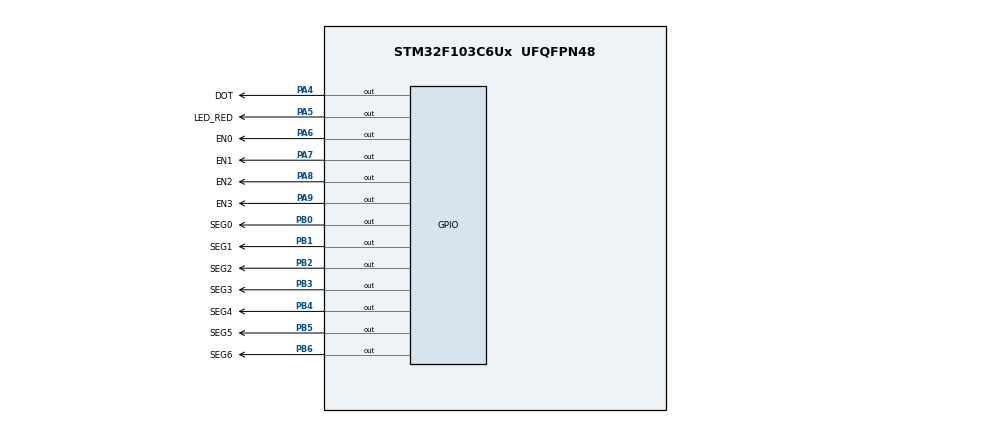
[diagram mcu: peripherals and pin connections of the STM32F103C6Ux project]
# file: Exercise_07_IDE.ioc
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Mcu.Family=STM32F1
Mcu.Name=STM32F103C6Ux
Mcu.Package=UFQFPN48
NVIC.PriorityGroup=NVIC_PRIORITYGROUP_4
NVIC.TIM2_IRQn=true\:0\:0\:false\:false\:true\:true\:true\:true
PA13.Mode=Serial_Wire
PA13.Signal=SYS_JTMS-SWDIO
PA14.Mode=Serial_Wire
PA14.Signal=SYS_JTCK-SWCLK
PA4.GPIO_Label=DOT
PA4.PinState=GPIO_PIN_SET
PA4.Signal=GPIO_Output
PA5.GPIO_Label=LED_RED
PA5.PinState=GPIO_PIN_SET
PA5.Signal=GPIO_Output
PA6.GPIO_Label=EN0
PA6.PinState=GPIO_PIN_SET
PA6.Signal=GPIO_Output
PA7.GPIO_Label=EN1
PA7.PinState=GPIO_PIN_SET
PA7.Signal=GPIO_Output
PA8.GPIO_Label=EN2
PA8.PinState=GPIO_PIN_SET
PA8.Signal=GPIO_Output
PA9.GPIO_Label=EN3
PA9.PinState=GPIO_PIN_SET
PA9.Signal=GPIO_Output
PB0.GPIO_Label=SEG0
PB0.PinState=GPIO_PIN_SET
PB0.Signal=GPIO_Output
PB1.GPIO_Label=SEG1
PB1.PinState=GPIO_PIN_SET
PB1.Signal=GPIO_Output
PB2.GPIO_Label=SEG2
PB2.PinState=GPIO_PIN_SET
PB2.Signal=GPIO_Output
PB3.GPIO_Label=SEG3
PB3.PinState=GPIO_PIN_SET
PB3.Signal=GPIO_Output
PB4.GPIO_Label=SEG4
PB4.PinState=GPIO_PIN_SET
PB4.Signal=GPIO_Output
PB5.GPIO_Label=SEG5
PB5.PinState=GPIO_PIN_SET
PB5.Signal=GPIO_Output
PB6.GPIO_Label=SEG6
PB6.PinState=GPIO_PIN_SET
PB6.Signal=GPIO_Output
ProjectManager.HeapSize=0x200
ProjectManager.StackSize=0x400
ProjectManager.TargetToolchain=STM32CubeIDE
RCC.APB1Freq_Value=8000000
RCC.APB2Freq_Value=8000000
TIM2.Period=9
TIM2.Prescaler=7999
VP_TIM2_VS_ClockSourceINT.Mode=Internal
board=custom

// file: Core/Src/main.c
/* USER CODE BEGIN Header */
/**
  ******************************************************************************
  * @file           : main.c
  * @brief          : Main program body
  ******************************************************************************
  * @attention
  *
  * Copyright (c) 2026 STMicroelectronics.
  * All rights reserved.
  *
  * This software is licensed under terms that can be found in the LICENSE file
  * in the root directory of this software component.
  * If no LICENSE file comes with this software, it is provided AS-IS.
  *
  ******************************************************************************
  */
/* USER CODE END Header */
#include "main.h"

TIM_HandleTypeDef htim2;

/* USER CODE BEGIN PV */
const int MAX_LED = 4;
int index_led = 0;
volatile int led_buffer[4] = {1, 5, 0, 8};

int hour = 15;
int minute = 8;
int second = 50;

volatile int timer0_counter = 0;
volatile int timer0_flag = 0;
const int TIMER_CYCLE = 10;

/* USER CODE END PV */

void SystemClock_Config(void);
static void MX_GPIO_Init(void);
static void MX_TIM2_Init(void);
/* USER CODE BEGIN PFP */
static void display7SEG(int number);
void update7SEG(int index);
void updateClockBuffer(void);
void setTimer0(int duration);
void timer_run(void);

/* USER CODE END PFP */

/* USER CODE BEGIN 0 */
void setTimer0(int duration)
{
    timer0_counter = duration / TIMER_CYCLE;
    timer0_flag = 0;
}

void timer_run(void)
{
    if (timer0_counter > 0)
    {
        timer0_counter--;

        if (timer0_counter == 0)
        {
            timer0_flag = 1;
        }
    }
}

/* USER CODE END 0 */

int main(void)
{

  /* MCU Configuration--------------------------------------------------------*/

  /* Reset of all peripherals, Initializes the Flash interface and the Systick. */
  HAL_Init();

  /* Configure the system clock */
  SystemClock_Config();

  /* Initialize all configured peripherals */
  MX_GPIO_Init();
  MX_TIM2_Init();
  /* USER CODE BEGIN 2 */
  HAL_GPIO_WritePin(LED_RED_GPIO_Port, LED_RED_Pin, GPIO_PIN_RESET);
  updateClockBuffer();
  update7SEG(index_led);
  index_led = 1;

  setTimer0(1000);

  if (HAL_TIM_Base_Start_IT(&htim2) != HAL_OK)
  {
      Error_Handler();
  }

  /* USER CODE END 2 */

  /* Infinite loop */
  while (1)
  {

    /* USER CODE BEGIN 3 */
	  if (timer0_flag == 1)
	  {
	      second++;

	      if (second >= 60)
	      {
	          second = 0;
	          minute++;
	      }

	      if (minute >= 60)
	      {
	          minute = 0;
	          hour++;
	      }

	      if (hour >= 24)
	      {
	          hour = 0;
	      }

	      updateClockBuffer();

	      HAL_GPIO_TogglePin(DOT_GPIO_Port, DOT_Pin);

	      setTimer0(1000);
	  }
  }
  /* USER CODE END 3 */
}

void SystemClock_Config(void)
{
  RCC_OscInitTypeDef RCC_OscInitStruct = {0};
  RCC_ClkInitTypeDef RCC_ClkInitStruct = {0};

  /** Initializes the RCC Oscillators according to the specified parameters
  * in the RCC_OscInitTypeDef structure.
  */
  RCC_OscInitStruct.OscillatorType = RCC_OSCILLATORTYPE_HSI;
  RCC_OscInitStruct.HSIState = RCC_HSI_ON;
  RCC_OscInitStruct.HSICalibrationValue = RCC_HSICALIBRATION_DEFAULT;
  RCC_OscInitStruct.PLL.PLLState = RCC_PLL_NONE;
  if (HAL_RCC_OscConfig(&RCC_OscInitStruct) != HAL_OK)
  {
    Error_Handler();
  }

  /** Initializes the CPU, AHB and APB buses clocks
  */
  RCC_ClkInitStruct.ClockType = RCC_CLOCKTYPE_HCLK|RCC_CLOCKTYPE_SYSCLK
                              |RCC_CLOCKTYPE_PCLK1|RCC_CLOCKTYPE_PCLK2;
  RCC_ClkInitStruct.SYSCLKSource = RCC_SYSCLKSOURCE_HSI;
  RCC_ClkInitStruct.AHBCLKDivider = RCC_SYSCLK_DIV1;
  RCC_ClkInitStruct.APB1CLKDivider = RCC_HCLK_DIV1;
  RCC_ClkInitStruct.APB2CLKDivider = RCC_HCLK_DIV1;

  if (HAL_RCC_ClockConfig(&RCC_ClkInitStruct, FLASH_LATENCY_0) != HAL_OK)
  {
    Error_Handler();
  }
}

static void MX_TIM2_Init(void)
{

  TIM_ClockConfigTypeDef sClockSourceConfig = {0};
  TIM_MasterConfigTypeDef sMasterConfig = {0};

  htim2.Instance = TIM2;
  htim2.Init.Prescaler = 7999;
  htim2.Init.CounterMode = TIM_COUNTERMODE_UP;
  htim2.Init.Period = 9;
  htim2.Init.ClockDivision = TIM_CLOCKDIVISION_DIV1;
  htim2.Init.AutoReloadPreload = TIM_AUTORELOAD_PRELOAD_DISABLE;
  if (HAL_TIM_Base_Init(&htim2) != HAL_OK)
  {
    Error_Handler();
  }
  sClockSourceConfig.ClockSource = TIM_CLOCKSOURCE_INTERNAL;
  if (HAL_TIM_ConfigClockSource(&htim2, &sClockSourceConfig) != HAL_OK)
  {
    Error_Handler();
  }
  sMasterConfig.MasterOutputTrigger = TIM_TRGO_RESET;
  sMasterConfig.MasterSlaveMode = TIM_MASTERSLAVEMODE_DISABLE;
  if (HAL_TIMEx_MasterConfigSynchronization(&htim2, &sMasterConfig) != HAL_OK)
  {
    Error_Handler();
  }

}

static void MX_GPIO_Init(void)
{
  GPIO_InitTypeDef GPIO_InitStruct = {0};

  /* GPIO Ports Clock Enable */
  __HAL_RCC_GPIOA_CLK_ENABLE();
  __HAL_RCC_GPIOB_CLK_ENABLE();

  /*Configure GPIO pin Output Level */
  HAL_GPIO_WritePin(GPIOA, DOT_Pin|LED_RED_Pin|EN0_Pin|EN1_Pin
                          |EN2_Pin|EN3_Pin, GPIO_PIN_SET);

  /*Configure GPIO pin Output Level */
  HAL_GPIO_WritePin(GPIOB, SEG0_Pin|SEG1_Pin|SEG2_Pin|SEG3_Pin
                          |SEG4_Pin|SEG5_Pin|SEG6_Pin, GPIO_PIN_SET);

  /*Configure GPIO pins : DOT_Pin LED_RED_Pin EN0_Pin EN1_Pin
                           EN2_Pin EN3_Pin */
  GPIO_InitStruct.Pin = DOT_Pin|LED_RED_Pin|EN0_Pin|EN1_Pin
                          |EN2_Pin|EN3_Pin;
  GPIO_InitStruct.Mode = GPIO_MODE_OUTPUT_PP;
  GPIO_InitStruct.Pull = GPIO_NOPULL;
  GPIO_InitStruct.Speed = GPIO_SPEED_FREQ_LOW;
  HAL_GPIO_Init(GPIOA, &GPIO_InitStruct);

  /*Configure GPIO pins : SEG0_Pin SEG1_Pin SEG2_Pin SEG3_Pin
                           SEG4_Pin SEG5_Pin SEG6_Pin */
  GPIO_InitStruct.Pin = SEG0_Pin|SEG1_Pin|SEG2_Pin|SEG3_Pin
                          |SEG4_Pin|SEG5_Pin|SEG6_Pin;
  GPIO_InitStruct.Mode = GPIO_MODE_OUTPUT_PP;
  GPIO_InitStruct.Pull = GPIO_NOPULL;
  GPIO_InitStruct.Speed = GPIO_SPEED_FREQ_LOW;
  HAL_GPIO_Init(GPIOB, &GPIO_InitStruct);

}

/* USER CODE BEGIN 4 */
static const uint8_t sevenSegmentCode[10] =
{
    0x3F, /* 0 */
    0x06, /* 1 */
    0x5B, /* 2 */
    0x4F, /* 3 */
    0x66, /* 4 */
    0x6D, /* 5 */
    0x7D, /* 6 */
    0x07, /* 7 */
    0x7F, /* 8 */
    0x6F  /* 9 */
};

void updateClockBuffer(void)
{
    led_buffer[0] = hour / 10;
    led_buffer[1] = hour % 10;
    led_buffer[2] = minute / 10;
    led_buffer[3] = minute % 10;
}

static void display7SEG(int number)
{
    if (number < 0 || number > 9)
    {
        return;
    }

    uint8_t code = sevenSegmentCode[number];

    HAL_GPIO_WritePin(SEG0_GPIO_Port, SEG0_Pin,
                      (code & (1U << 0)) ? GPIO_PIN_RESET : GPIO_PIN_SET);
    HAL_GPIO_WritePin(SEG1_GPIO_Port, SEG1_Pin,
                      (code & (1U << 1)) ? GPIO_PIN_RESET : GPIO_PIN_SET);
    HAL_GPIO_WritePin(SEG2_GPIO_Port, SEG2_Pin,
                      (code & (1U << 2)) ? GPIO_PIN_RESET : GPIO_PIN_SET);
    HAL_GPIO_WritePin(SEG3_GPIO_Port, SEG3_Pin,
                      (code & (1U << 3)) ? GPIO_PIN_RESET : GPIO_PIN_SET);
    HAL_GPIO_WritePin(SEG4_GPIO_Port, SEG4_Pin,
                      (code & (1U << 4)) ? GPIO_PIN_RESET : GPIO_PIN_SET);
    HAL_GPIO_WritePin(SEG5_GPIO_Port, SEG5_Pin,
                      (code & (1U << 5)) ? GPIO_PIN_RESET : GPIO_PIN_SET);
    HAL_GPIO_WritePin(SEG6_GPIO_Port, SEG6_Pin,
                      (code & (1U << 6)) ? GPIO_PIN_RESET : GPIO_PIN_SET);
}

void update7SEG(int index)
{
    HAL_GPIO_WritePin(EN0_GPIO_Port, EN0_Pin, GPIO_PIN_SET);
    HAL_GPIO_WritePin(EN1_GPIO_Port, EN1_Pin, GPIO_PIN_SET);
    HAL_GPIO_WritePin(EN2_GPIO_Port, EN2_Pin, GPIO_PIN_SET);
    HAL_GPIO_WritePin(EN3_GPIO_Port, EN3_Pin, GPIO_PIN_SET);

    switch (index)
    {
        case 0:
            display7SEG(led_buffer[0]);
            HAL_GPIO_WritePin(EN0_GPIO_Port, EN0_Pin, GPIO_PIN_RESET);
            break;

        case 1:
            display7SEG(led_buffer[1]);
            HAL_GPIO_WritePin(EN1_GPIO_Port, EN1_Pin, GPIO_PIN_RESET);
            break;

        case 2:
            display7SEG(led_buffer[2]);
            HAL_GPIO_WritePin(EN2_GPIO_Port, EN2_Pin, GPIO_PIN_RESET);
            break;

        case 3:
            display7SEG(led_buffer[3]);
            HAL_GPIO_WritePin(EN3_GPIO_Port, EN3_Pin, GPIO_PIN_RESET);
            break;

        default:
            break;
    }
}

void HAL_TIM_PeriodElapsedCallback(TIM_HandleTypeDef *htim)
{
    static uint8_t scan_counter = 0;

    if (htim->Instance == TIM2)
    {
        timer_run();

        scan_counter++;

        if (scan_counter >= 25)
        {
            scan_counter = 0;

            update7SEG(index_led);
            index_led++;

            if (index_led >= MAX_LED)
            {
                index_led = 0;
            }
        }
    }
}

/* USER CODE END 4 */

void Error_Handler(void)
{
  __disable_irq();
  while (1)
  {
  }
}
